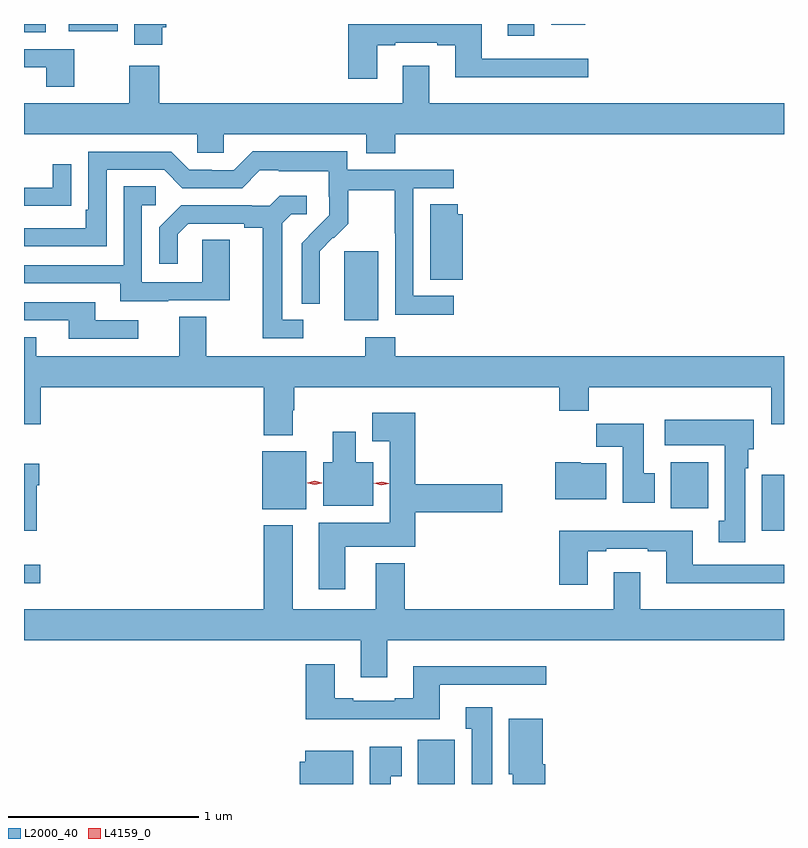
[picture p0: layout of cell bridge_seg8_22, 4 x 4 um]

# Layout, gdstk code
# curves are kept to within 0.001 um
import gdstk
lib = gdstk.Library(unit=1e-6, precision=1e-09)
def R(c, l, rs):  # rectangles x0, y0, x1, y1
    for r in rs: c.add(gdstk.rectangle(r[:2], r[2:], *l))
def P(c, l, *ps):  # polygons
    for p in ps: c.add(gdstk.Polygon(p, *l))
L2000_40 = (2000, 40)
L4159_0 = (4159, 0)

bridge_seg8_22 = lib.new_cell('bridge_seg8_22')
R(bridge_seg8_22, L2000_40, [(900.551,1147.712,900.747,1147.945), (898.479,1148.768,898.564,1148.865), (902.363,1149.044,902.479,1149.34), (899.732,1149.158,899.965,1149.463), (901.883,1149.164,902.08,1149.406), (900.164,1150.154,900.343,1150.515), (901.025,1151.649,901.165,1151.712), (898.479,1151.669,898.594,1151.712), (898.715,1151.675,898.972,1151.712), (901.253,1151.708,901.432,1151.712)])
P(bridge_seg8_22, L2000_40, [(899.207,1151.694),(899.228,1151.694),(899.228,1151.712),(899.06,1151.712),(899.06,1151.604),(899.207,1151.604)],
  [(900.337,1151.601),(900.433,1151.601),(900.433,1151.613),(900.653,1151.613),(900.653,1151.601),(900.749,1151.601),(900.749,1151.432),(901.45,1151.432),(901.45,1151.529),(900.889,1151.529),(900.889,1151.71),(900.185,1151.71),(900.185,1151.424),(900.337,1151.424)],
  [(898.743,1151.58),(898.479,1151.58),(898.479,1151.484),(898.595,1151.484),(898.595,1151.382),(898.743,1151.382)],
  [(899.192,1151.491),(899.032,1151.491),(899.032,1151.296),(898.479,1151.296),(898.479,1151.132),(899.391,1151.132),(899.391,1151.034),(899.529,1151.034),(899.529,1151.132),(900.281,1151.132),(900.281,1151.033),(900.434,1151.033),(900.434,1151.132),(902.479,1151.132),(902.479,1151.296),(900.613,1151.296),(900.613,1151.491),(900.473,1151.491),(900.473,1151.296),(899.192,1151.296)],
  [(900.742,1150.281),(900.528,1150.281),(900.528,1150.848),(900.742,1150.848),(900.742,1150.944),(900.18,1150.944),(900.18,1151.041),(899.683,1151.041),(899.583,1150.941),(899.468,1150.941),(899.468,1150.944),(899.349,1150.944),(899.253,1151.04),(898.818,1151.04),(898.818,1150.735),(898.805,1150.735),(898.805,1150.638),(898.479,1150.638),(898.479,1150.542),(898.914,1150.542),(898.914,1150.944),(899.217,1150.944),(899.313,1150.848),(899.628,1150.848),(899.721,1150.941),(899.821,1150.941),(899.821,1150.937),(900.084,1150.937),(900.084,1150.803),(900.086,1150.803),(900.086,1150.706),(899.94,1150.558),(899.94,1150.24),(900.036,1150.24),(900.035,1150.517),(900.105,1150.587),(900.108,1150.584),(900.185,1150.661),(900.185,1150.836),(900.43,1150.836),(900.43,1150.612),(900.432,1150.612),(900.432,1150.183),(900.742,1150.183)],
  [(898.625,1150.756),(898.727,1150.756),(898.727,1150.975),(898.631,1150.975),(898.631,1150.851),(898.479,1150.851),(898.479,1150.755),(898.625,1150.755)],
  [(899.239,1150.257),(899.563,1150.257),(899.563,1150.577),(899.418,1150.577),(899.418,1150.353),(899.1,1150.353),(899.1,1150.758),(899.173,1150.758),(899.173,1150.859),(899.004,1150.859),(899.004,1150.443),(898.479,1150.443),(898.479,1150.347),(898.985,1150.347),(898.985,1150.253),(899.239,1150.253)],
  [(899.95,1150.155),(899.839,1150.155),(899.839,1150.663),(899.886,1150.71),(899.968,1150.71),(899.968,1150.807),(899.824,1150.807),(899.772,1150.755),(899.678,1150.755),(899.678,1150.758),(899.306,1150.758),(899.19,1150.642),(899.19,1150.449),(899.287,1150.449),(899.287,1150.605),(899.344,1150.662),(899.639,1150.662),(899.639,1150.64),(899.735,1150.64),(899.735,1150.059),(899.95,1150.059)],
  [(900.788,1150.71),(900.761,1150.71),(900.761,1150.763),(900.617,1150.763),(900.617,1150.366),(900.788,1150.366)],
  [(899.08,1150.152),(898.855,1150.152),(898.855,1150.248),(898.479,1150.248),(898.479,1150.152),(898.715,1150.152),(898.715,1150.056),(899.08,1150.056)],
  [(899.893,1149.68),(899.901,1149.68),(899.901,1149.8),(901.295,1149.8),(901.295,1149.676),(901.451,1149.676),(901.451,1149.8),(902.411,1149.8),(902.411,1149.606),(902.479,1149.606),(902.479,1149.964),(900.434,1149.964),(900.434,1150.063),(900.274,1150.063),(900.274,1149.964),(899.437,1149.964),(899.437,1150.172),(899.297,1150.172),(899.297,1149.964),(898.543,1149.964),(898.543,1150.063),(898.479,1150.063),(898.479,1149.606),(898.568,1149.606),(898.568,1149.8),(899.741,1149.8),(899.741,1149.548),(899.893,1149.548)],
  [(900.169,1148.96),(900.539,1148.96),(900.539,1149.143),(900.997,1149.143),(900.997,1149.29),(900.539,1149.29),(900.539,1149.667),(900.311,1149.667),(900.311,1149.515),(900.404,1149.515),(900.404,1149.088),(900.029,1149.088),(900.029,1148.736),(900.169,1148.736)],
  [(902.275,1149.374),(902.29,1149.374),(902.29,1149.474),(902.32,1149.474),(902.32,1149.628),(901.851,1149.628),(901.851,1149.494),(902.168,1149.494),(902.168,1149.098),(902.135,1149.098),(902.135,1148.985),(902.275,1148.985)],
  [(901.798,1149.348),(901.741,1149.348),(901.741,1149.607),(901.492,1149.607),(901.492,1149.488),(901.631,1149.488),(901.631,1149.192),(901.798,1149.192)],
  [(900.316,1149.406),(900.226,1149.406),(900.226,1149.565),(900.104,1149.565),(900.104,1149.406),(900.053,1149.406),(900.053,1149.176),(900.316,1149.176)],
  [(901.543,1149.4),(901.41,1149.4),(901.41,1149.406),(901.274,1149.406),(901.274,1149.212),(901.543,1149.212)],
  [(898.546,1149.284),(898.559,1149.284),(898.559,1149.397),(898.479,1149.397),(898.479,1149.044),(898.546,1149.044)],
  [(900.391,1148.468),(902.479,1148.468),(902.479,1148.632),(901.723,1148.632),(901.723,1148.827),(901.583,1148.827),(901.583,1148.632),(900.482,1148.632),(900.482,1148.875),(900.329,1148.875),(900.329,1148.632),(899.893,1148.632),(899.893,1149.073),(899.741,1149.073),(899.741,1148.632),(898.479,1148.632),(898.479,1148.468),(900.251,1148.468),(900.251,1148.274),(900.391,1148.274)],
  [(901.447,1148.937),(901.543,1148.937),(901.543,1148.949),(901.763,1148.949),(901.763,1148.937),(901.859,1148.937),(901.859,1148.768),(902.479,1148.768),(902.479,1148.865),(901.999,1148.865),(901.999,1149.046),(901.295,1149.046),(901.295,1148.76),(901.447,1148.76)],
  [(900.667,1148.235),(901.228,1148.235),(901.228,1148.332),(900.527,1148.332),(900.527,1148.164),(900.431,1148.164),(900.431,1148.151),(900.211,1148.151),(900.211,1148.164),(900.115,1148.164),(900.115,1148.341),(899.963,1148.341),(899.963,1148.054),(900.667,1148.054)],
  [(900.943,1148.116),(900.803,1148.116),(900.803,1148.003),(900.836,1148.003),(900.836,1147.712),(900.943,1147.712)],
  [(901.223,1147.816),(901.21,1147.816),(901.21,1148.056),(901.031,1148.056),(901.031,1147.764),(901.052,1147.764),(901.052,1147.712),(901.223,1147.712)],
  [(900.409,1147.753),(900.466,1147.753),(900.466,1147.909),(900.299,1147.909),(900.299,1147.712),(900.409,1147.712)],
  [(900.211,1147.888),(899.96,1147.888),(899.96,1147.83),(899.93,1147.83),(899.93,1147.712),(900.211,1147.712)])
P(bridge_seg8_22, L4159_0, [(900.36,1149.284),(900.321,1149.294),(900.321,1149.294),(900.321,1149.294),(900.361,1149.304),(900.4,1149.294),(900.4,1149.293),(900.4,1149.293)],
  [(900.009,1149.287),(899.972,1149.296),(899.971,1149.297),(899.972,1149.297),(900.009,1149.307),(900.047,1149.297),(900.047,1149.297),(900.047,1149.296)])

lib.write_gds('bridge_seg8_22.gds')
